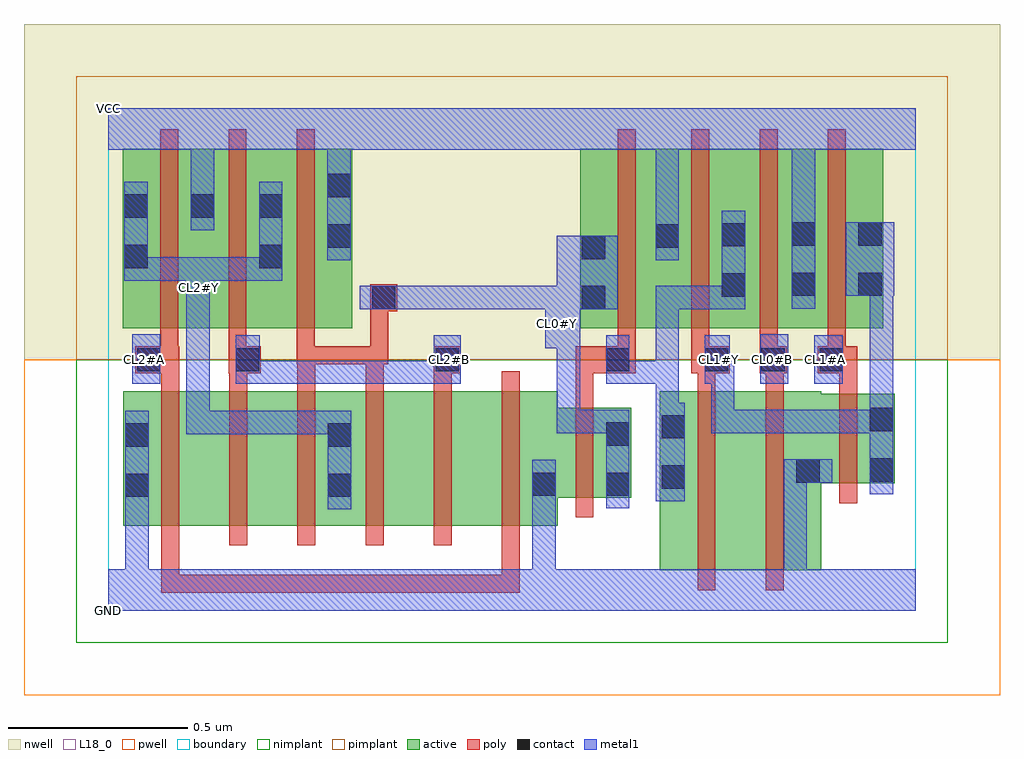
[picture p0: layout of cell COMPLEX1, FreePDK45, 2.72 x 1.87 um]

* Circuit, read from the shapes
.subckt COMPLEX1 CL0#B CL0#Y CL1#A CL1#Y CL2#A CL2#B CL2#Y GND VCC
M1 n1 CL2#A GND VSUBS nfet w=0.375u l=0.05u
M2 n2 CL2#B n1 VSUBS nfet w=0.375u l=0.05u
M3 CL2#Y CL0#Y n2 VSUBS nfet w=0.375u l=0.05u
M4 n3 CL0#Y CL2#Y VSUBS nfet w=0.375u l=0.05u
M5 n4 CL2#B n3 VSUBS nfet w=0.375u l=0.05u
M6 GND CL2#A n4 VSUBS nfet w=0.375u l=0.05u
M7 CL0#Y n5 GND VSUBS nfet w=0.25u l=0.05u
M8 n6 CL1#Y n5 VSUBS nfet w=0.5u l=0.05u
M9 GND CL0#B n6 VSUBS nfet w=0.5u l=0.05u
M10 CL1#Y CL1#A GND VSUBS nfet w=0.25u l=0.05u
M11 VCC CL2#A CL2#Y n7 pfet w=0.5u l=0.05u
M12 CL2#Y CL2#B VCC n7 pfet w=0.5u l=0.05u
M13 VCC CL0#Y CL2#Y n7 pfet w=0.5u l=0.05u
M14 VCC n5 CL0#Y n7 pfet w=0.5u l=0.05u
M15 n5 CL1#Y VCC n7 pfet w=0.5u l=0.05u
M16 VCC CL0#B n5 n7 pfet w=0.5u l=0.05u
M17 CL1#Y CL1#A VCC n7 pfet w=0.5u l=0.05u
.ends

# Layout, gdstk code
import gdstk
lib = gdstk.Library(unit=1e-6, precision=1e-09)
def R(c, l, rs):  # rectangles x0, y0, x1, y1
    for r in rs: c.add(gdstk.rectangle(r[:2], r[2:], *l))
def A(c, l, x, y, w, h, nx, ny, dx, dy):  # array of equal rectangles
    R(c, l, [(x+i*dx, y+j*dy, x+i*dx+w, y+j*dy+h) for i in range(nx) for j in range(ny)])
active = (1, 0)
pwell = (2, 0)
nwell = (3, 0)
nimplant = (4, 0)
pimplant = (5, 0)
poly = (9, 0)
contact = (10, 0)
metal1 = (11, 0)
L18_0 = (18, 0)
boundary = (235, 0)

complex1 = lib.new_cell('COMPLEX1')
R(complex1, active, [(1.537,0.112,1.762,0.612), (1.762,0.112,1.987,0.612), (1.537,0.145,1.642,0.612), (0.042,0.237,0.267,0.612), (0.267,0.237,0.457,0.612), (0.457,0.237,0.682,0.612), (0.607,0.237,0.837,0.612), (0.837,0.237,1.027,0.612), (1.027,0.237,1.252,0.612), (0.042,0.257,0.117,0.612), (0.607,0.27,0.682,0.592), (1.177,0.315,1.457,0.565), (1.177,0.315,1.252,0.497), (1.382,0.315,1.457,0.565), (1.912,0.352,1.987,0.462), (1.912,0.355,2.192,0.605), (2.117,0.355,2.192,0.605), (0.04,0.787,0.115,1.2), (0.04,0.787,0.3,1.287), (0.225,0.787,0.49,1.287), (0.415,0.787,0.68,1.287), (0.605,0.787,0.68,1.255), (1.315,0.787,1.39,1.2), (1.315,0.787,1.595,1.287), (1.52,0.787,1.78,1.287), (1.52,0.787,1.595,1.255), (1.705,0.787,1.975,1.287), (1.9,0.787,2.16,1.287), (2.085,0.787,2.16,1.2), (0.225,0.807,0.3,1.267), (0.415,0.807,0.49,1.2), (1.705,0.807,1.78,1.2), (1.9,0.807,1.975,1.267)])
R(complex1, pwell, [(-0.235,-0.235,2.485,0.7)])
R(complex1, nwell, [(-0.235,0.7,2.485,1.635)])
R(complex1, nimplant, [(-0.09,-0.09,2.34,0.7)])
R(complex1, pimplant, [(-0.09,0.7,2.34,1.49)])
A(complex1, poly, 0.147, 0.182, 0.05, 0.485, 6, 1, 0.19, 0)
A(complex1, poly, 0.145, 0.687, 0.05, 0.095, 3, 1, 0.19, 0)
A(complex1, poly, 1.625, 0.687, 0.05, 0.095, 3, 1, 0.19, 0)
A(complex1, poly, 0.145, 0.732, 0.05, 0.61, 3, 1, 0.19, 0)
A(complex1, poly, 1.625, 0.732, 0.05, 0.61, 3, 1, 0.19, 0)
R(complex1, poly, [(0.147,0.05,0.197,0.232), (0.147,0.05,0.197,0.1), (0.147,0.05,0.197,0.1), (0.147,0.05,0.197,0.1), (0.147,0.05,0.442,0.1), (0.392,0.05,0.442,0.1), (0.392,0.05,0.442,0.1), (0.392,0.05,0.442,0.1), (0.392,0.05,0.635,0.1), (0.585,0.05,0.635,0.1), (0.585,0.05,0.767,0.1), (0.717,0.05,0.767,0.1), (0.717,0.05,0.767,0.1), (0.717,0.05,0.767,0.1), (0.717,0.05,0.9,0.1), (0.85,0.05,0.9,0.1), (0.85,0.05,0.9,0.1), (0.85,0.05,0.9,0.1), (0.85,0.05,1.147,0.1), (1.097,0.05,1.147,0.232), (1.097,0.05,1.147,0.1), (1.097,0.05,1.147,0.1), (1.097,0.05,1.147,0.1), (1.642,0.057,1.692,0.667), (1.832,0.057,1.882,0.667), (1.302,0.26,1.352,0.62), (2.037,0.3,2.087,0.66), (1.302,0.57,1.352,0.712), (2.037,0.61,2.087,0.712), (0.147,0.617,0.197,0.712), (0.337,0.617,0.387,0.712), (0.527,0.617,0.577,0.737), (0.717,0.617,0.767,0.737), (0.907,0.617,0.957,0.712), (1.642,0.617,1.692,0.712), (1.832,0.617,1.882,0.712), (0.075,0.662,0.197,0.737), (0.335,0.662,0.425,0.737), (0.907,0.662,0.982,0.737), (1.302,0.662,1.47,0.737), (1.625,0.662,1.732,0.737), (1.815,0.662,1.89,0.737), (1.977,0.662,2.087,0.737), (0.525,0.687,0.577,0.737), (0.527,0.687,0.767,0.737), (0.717,0.687,0.767,0.737), (0.717,0.687,0.767,0.737), (0.717,0.687,0.78,0.737), (0.73,0.687,0.78,0.885), (1.42,0.687,1.47,0.782), (1.42,0.732,1.47,1.342), (0.73,0.835,0.805,0.91), (0.73,0.835,0.78,0.885), (0.73,0.835,0.78,0.885)])
R(complex1, contact, [(0.047,0.317,0.112,0.382), (0.612,0.317,0.677,0.382), (1.182,0.32,1.247,0.385), (1.387,0.32,1.452,0.385), (1.542,0.34,1.607,0.405), (1.917,0.357,1.982,0.422), (2.122,0.36,2.187,0.425), (0.047,0.457,0.112,0.522), (0.612,0.457,0.677,0.522), (1.387,0.46,1.452,0.525), (1.542,0.48,1.607,0.545), (2.122,0.5,2.187,0.565), (0.08,0.667,0.145,0.732), (0.355,0.667,0.42,0.732), (0.912,0.667,0.977,0.732), (1.387,0.667,1.452,0.732), (1.662,0.667,1.727,0.732), (1.82,0.667,1.885,0.732), (1.982,0.667,2.047,0.732), (0.735,0.84,0.8,0.905), (1.32,0.84,1.385,0.905), (1.71,0.875,1.775,0.94), (1.905,0.877,1.97,0.942), (2.09,0.877,2.155,0.942), (0.045,0.955,0.11,1.02), (0.42,0.955,0.485,1.02), (1.32,0.98,1.385,1.045), (0.61,1.012,0.675,1.077), (1.525,1.012,1.59,1.077), (1.71,1.015,1.775,1.08), (1.905,1.017,1.97,1.082), (2.09,1.017,2.155,1.082), (0.045,1.095,0.11,1.16), (0.23,1.095,0.295,1.16), (0.42,1.095,0.485,1.16), (0.61,1.152,0.675,1.217)])
R(complex1, metal1, [(0,0,2.25,0.115), (0.047,0.05,0.112,0.115), (0.047,0.05,0.112,0.115), (0.047,0.05,0.112,0.347), (1.182,0.05,1.247,0.35), (1.882,0.05,1.947,0.422), (0.047,0.282,0.112,0.347), (0.047,0.282,0.112,0.347), (0.047,0.282,0.112,0.557), (0.612,0.282,0.677,0.557), (1.182,0.285,1.247,0.35), (1.182,0.285,1.247,0.35), (1.182,0.285,1.247,0.35), (1.182,0.285,1.247,0.35), (1.182,0.285,1.247,0.42), (1.387,0.285,1.452,0.56), (1.525,0.305,1.607,0.58), (2.122,0.325,2.187,0.6), (1.882,0.357,1.947,0.422), (1.882,0.357,1.947,0.422), (1.882,0.357,2.017,0.422), (0.217,0.492,0.282,0.557), (0.217,0.492,0.282,0.557), (0.217,0.492,0.282,0.557), (0.217,0.492,0.537,0.557), (0.217,0.492,0.282,0.897), (0.472,0.492,0.537,0.557), (0.472,0.492,0.56,0.557), (0.495,0.492,0.56,0.557), (0.495,0.492,0.677,0.557), (1.25,0.495,1.315,0.56), (1.25,0.495,1.452,0.56), (1.25,0.495,1.315,0.797), (1.387,0.495,1.452,0.56), (1.387,0.495,1.452,0.56), (1.68,0.495,1.745,0.56), (1.68,0.495,1.895,0.56), (1.68,0.495,1.745,0.697), (1.83,0.495,1.895,0.56), (1.83,0.495,1.895,0.56), (1.83,0.495,1.895,0.56), (1.83,0.495,2.187,0.56), (2.122,0.495,2.187,0.56), (2.122,0.495,2.187,0.56), (1.525,0.515,1.59,0.697), (2.122,0.535,2.187,0.942), (2.122,0.535,2.187,0.6), (2.122,0.535,2.187,0.6), (0.067,0.632,0.145,0.77), (0.355,0.632,0.422,0.767), (0.357,0.632,0.422,0.697), (0.357,0.632,0.422,0.697), (0.357,0.632,0.627,0.697), (0.562,0.632,0.627,0.697), (0.562,0.632,0.835,0.697), (0.77,0.632,0.835,0.697), (0.77,0.632,0.835,0.697), (0.77,0.632,0.835,0.697), (0.77,0.632,0.972,0.697), (0.907,0.632,0.972,0.697), (0.907,0.632,0.972,0.697), (0.907,0.632,0.982,0.767), (1.387,0.632,1.452,0.697), (1.387,0.632,1.452,0.697), (1.387,0.632,1.59,0.697), (1.387,0.632,1.452,0.767), (1.525,0.632,1.59,0.697), (1.525,0.632,1.59,0.905), (1.662,0.632,1.732,0.767), (1.667,0.632,1.745,0.697), (1.68,0.632,1.745,0.697), (1.817,0.632,1.895,0.77), (1.967,0.632,2.047,0.767), (1.217,0.732,1.315,0.905), (0.217,0.832,0.282,0.967), (0.7,0.84,0.835,0.905), (0.77,0.84,0.972,0.905), (0.907,0.84,0.972,0.905), (0.907,0.84,0.972,0.905), (0.907,0.84,0.972,0.905), (0.907,0.84,0.972,0.905), (0.907,0.84,0.972,0.905), (0.907,0.84,1.11,0.905), (1.045,0.84,1.11,0.905), (1.045,0.84,1.315,0.905), (1.25,0.84,1.315,0.905), (1.25,0.84,1.315,0.905), (1.25,0.84,1.315,0.905), (1.25,0.84,1.42,1.045), (1.525,0.84,1.59,0.905), (1.525,0.84,1.59,0.905), (1.525,0.84,1.59,0.905), (1.525,0.84,1.775,0.905), (1.71,0.84,1.775,1.115), (1.905,0.842,1.97,1.117), (2.055,0.877,2.19,1.082), (0.217,0.902,0.282,0.985), (0.045,0.92,0.11,0.985), (0.045,0.92,0.11,0.985), (0.045,0.92,0.11,1.195), (0.045,0.92,0.282,0.985), (0.217,0.92,0.282,0.985), (0.217,0.92,0.282,0.985), (0.217,0.92,0.282,0.985), (0.217,0.92,0.485,0.985), (0.42,0.92,0.485,1.195), (0.61,0.977,0.675,1.252), (1.525,0.977,1.59,1.112), (1.525,1.047,1.59,1.35), (1.905,1.052,1.97,1.35), (0.23,1.06,0.295,1.195), (0.23,1.13,0.295,1.35), (0.61,1.187,0.675,1.35), (0,1.285,2.25,1.4)])
A(complex1, L18_0, 1.667, 0.667, 0.065, 0.065, 3, 1, 0.15, 0)
R(complex1, L18_0, [(0,0,2.25,0.115), (0.047,0.05,0.112,0.115), (0.047,0.05,0.112,0.115), (0.047,0.05,0.112,0.347), (1.182,0.05,1.247,0.35), (1.882,0.05,1.947,0.422), (0.047,0.282,0.112,0.347), (0.047,0.282,0.112,0.347), (0.047,0.282,0.112,0.557), (0.612,0.282,0.677,0.557), (1.182,0.285,1.247,0.35), (1.182,0.285,1.247,0.35), (1.182,0.285,1.247,0.35), (1.182,0.285,1.247,0.35), (1.182,0.285,1.247,0.42), (1.387,0.285,1.452,0.56), (2.122,0.325,2.187,0.6), (1.882,0.357,1.947,0.422), (1.882,0.357,1.947,0.422), (1.882,0.357,2.017,0.422), (0.217,0.492,0.282,0.557), (0.217,0.492,0.282,0.557), (0.217,0.492,0.282,0.557), (0.217,0.492,0.282,0.897), (0.217,0.492,0.537,0.557), (0.472,0.492,0.537,0.557), (0.472,0.492,0.56,0.557), (0.495,0.492,0.56,0.557), (0.495,0.492,0.677,0.557), (1.25,0.495,1.315,0.56), (1.25,0.495,1.452,0.56), (1.25,0.495,1.315,0.797), (1.387,0.495,1.452,0.56), (1.387,0.495,1.452,0.56), (1.68,0.495,1.745,0.56), (1.68,0.495,1.745,0.697), (1.68,0.495,1.895,0.56), (1.83,0.495,1.895,0.56), (1.83,0.495,1.895,0.56), (1.83,0.495,1.895,0.56), (1.83,0.495,2.187,0.56), (2.122,0.495,2.187,0.56), (2.122,0.495,2.187,0.56), (2.122,0.535,2.187,0.6), (2.122,0.535,2.187,0.6), (2.122,0.535,2.187,0.942), (0.067,0.632,0.145,0.77), (0.355,0.632,0.422,0.767), (0.357,0.632,0.422,0.697), (0.357,0.632,0.422,0.697), (0.357,0.632,0.627,0.697), (0.562,0.632,0.627,0.697), (0.562,0.632,0.835,0.697), (0.77,0.632,0.835,0.697), (0.77,0.632,0.835,0.697), (0.77,0.632,0.835,0.697), (0.77,0.632,0.972,0.697), (0.907,0.632,0.972,0.697), (0.907,0.632,0.972,0.697), (0.907,0.632,0.982,0.767), (1.662,0.632,1.732,0.767), (1.667,0.632,1.745,0.697), (1.68,0.632,1.745,0.697), (1.817,0.632,1.895,0.77), (1.967,0.632,2.047,0.767), (0.067,0.667,0.132,0.732), (0.917,0.667,0.982,0.732), (1.217,0.732,1.315,0.905), (1.217,0.767,1.282,0.832), (0.217,0.832,0.282,0.967), (0.7,0.84,0.835,0.905), (0.77,0.84,0.972,0.905), (0.907,0.84,0.972,0.905), (0.907,0.84,0.972,0.905), (0.907,0.84,0.972,0.905), (0.907,0.84,0.972,0.905), (0.907,0.84,0.972,0.905), (0.907,0.84,1.11,0.905), (1.045,0.84,1.11,0.905), (1.045,0.84,1.315,0.905), (1.25,0.84,1.315,0.905), (1.25,0.84,1.315,0.905), (1.25,0.84,1.315,0.905), (1.25,0.84,1.42,1.045), (1.905,0.842,1.97,1.117), (0.217,0.867,0.282,0.932), (2.055,0.877,2.19,1.082), (0.217,0.902,0.282,0.985), (0.045,0.92,0.11,0.985), (0.045,0.92,0.11,0.985), (0.045,0.92,0.11,1.195), (0.045,0.92,0.282,0.985), (0.217,0.92,0.282,0.985), (0.217,0.92,0.282,0.985), (0.217,0.92,0.282,0.985), (0.217,0.92,0.485,0.985), (0.42,0.92,0.485,1.195), (0.61,0.977,0.675,1.252), (1.525,0.977,1.59,1.112), (1.525,1.047,1.59,1.35), (1.905,1.052,1.97,1.35), (0.23,1.06,0.295,1.195), (0.23,1.13,0.295,1.35), (0.61,1.187,0.675,1.35), (0,1.285,2.25,1.4)])
R(complex1, boundary, [(0,0,2.25,1.4)])
complex1.add(gdstk.Label('CL0#B', (1.85,0.7), layer=11, texttype=0))
complex1.add(gdstk.Label('CL0#Y', (1.25,0.8), layer=11, texttype=0))
complex1.add(gdstk.Label('CL1#A', (2,0.7), layer=11, texttype=0))
complex1.add(gdstk.Label('CL1#Y', (1.7,0.7), layer=11, texttype=0))
complex1.add(gdstk.Label('CL2#A', (0.1,0.7), layer=11, texttype=0))
complex1.add(gdstk.Label('CL2#B', (0.95,0.7), layer=11, texttype=0))
complex1.add(gdstk.Label('CL2#Y', (0.25,0.9), layer=11, texttype=0))
complex1.add(gdstk.Label('VCC', (0,1.4), layer=11, texttype=0))
complex1.add(gdstk.Label('GND', (0,0), layer=11, texttype=0))

lib.write_gds('COMPLEX1.gds')
